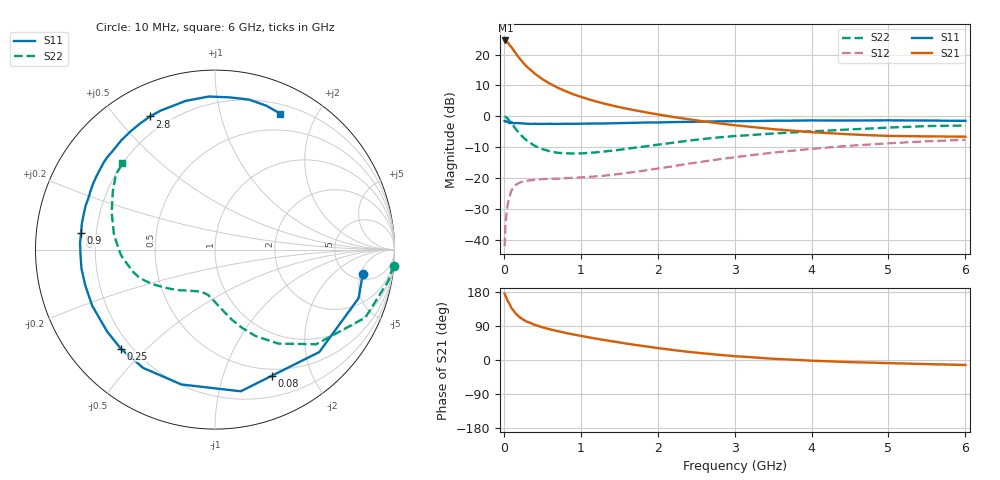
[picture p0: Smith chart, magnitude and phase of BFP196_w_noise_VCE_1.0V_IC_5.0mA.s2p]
! Infineon Technologies  Discrete & RF Semiconductors
! BFP196
! VCE =  1.0 V,  IC =  5.0 mA
! Common Emitter S-Parameters:  Jan 2017
# GHz  S  MA  R  50
!  f  S11  S21  S12  S22
! GHz  MAG  ANG  MAG  ANG  MAG  ANG  MAG  ANG
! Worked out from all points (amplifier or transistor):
!   77 points, 10 MHz to 6 GHz, reference 50 ohm
!   highest |S21| = 24.6 dB at 20 MHz (marker M1)
!   |S21| within 3 dB of that: start of sweep to 121.7 MHz
!   unconditionally stable (mu >= 1): 1.172 GHz to 2.583 GHz
!   at 130 MHz: K = 0.15, MSG = 22.1 dB, |S12| = -23.0 dB
!   at 2.2 GHz: K = 1.07, MAG = 6.4 dB, |S12| = -16.2 dB
!   at 6 GHz: K = 0.99, MSG = 0.5 dB, |S12| = -7.6 dB
!   lowest NFmin = 1.01 dB at 450 MHz
!   S11 on the Smith chart (normalised r, x): 10 MHz: 6.10, -5.48; 80 MHz: 0.42, -1.47; 250 MHz: 0.16, -0.42; 900 MHz: 0.14, +0.06; 2.8 GHz: 0.13, +0.62; 6 GHz: 0.30, +1.55
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0.01  0.8346 -9.4  16.82 175.1  0.0078 86.4  0.9985 -5.1
0.02  0.8444 -18.7  16.9 170.2  0.016 83.1  0.9815 -10.2
0.05  0.8147 -44.5  15.68 155.7  0.0373 67.6  0.9197 -24.3
0.08  0.7709 -65.6  13.96 145.2  0.0522 56.5  0.8201 -34.8
0.1  0.8023 -79.7  13.12 136.8  0.0628 52.1  0.772 -43.1
0.15  0.7744 -104.0  10.64 123.3  0.0763 40.8  0.6318 -56.0
0.2  0.7712 -121.3  8.787 113.9  0.0829 33.9  0.5308 -65.0
0.25  0.7614 -133.6  7.382 106.5  0.0877 29.5  0.4561 -71.4
0.3  0.7549 -142.7  6.326 101.2  0.0899 26.8  0.4012 -76.5
0.4  0.7523 -155.5  4.915 92.7  0.093 23.5  0.3315 -84.0
0.5  0.7499 -164.8  3.987 86.3  0.095 22.2  0.2926 -89.9
0.6  0.7515 -171.9  3.363 80.8  0.0968 22.1  0.269 -94.8
0.7  0.7499 -177.5  2.897 76.2  0.0971 22.6  0.2549 -99.1
0.9  0.7518 172.9  2.273 67.5  0.1 24.8  0.2485 -106.8
1.1  0.7574 165.1  1.882 60.0  0.1034 28.1  0.2536 -113.8
1.5  0.7722 151.6  1.401 46.4  0.1156 34.4  0.2849 -127.2
2.1  0.7958 133.4  1.019 29.0  0.1478 41.0  0.3576 -144.3
2.8  0.8252 116.0  0.764 13.5  0.1999 40.8  0.4535 -160.6
3.1  0.832 109.3  0.693 8.9  0.2238 38.6  0.484 -167.7
4.1  0.852 90.7  0.542 -2.5  0.3023 28.4  0.575 169.4
5.1  0.8548 75.8  0.477 -8.7  0.3686 15.8  0.6604 149.0
6  0.8405 64.3  0.465 -13.1  0.4149 4.6  0.706 136.9
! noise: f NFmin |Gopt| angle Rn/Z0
0.45  1.01  0.42  127  0.08
0.9  1.47  0.55  170  0.06
1.9  2.9  0.74  -142  0.31
2.4  3.55  0.76  -125  0.95
